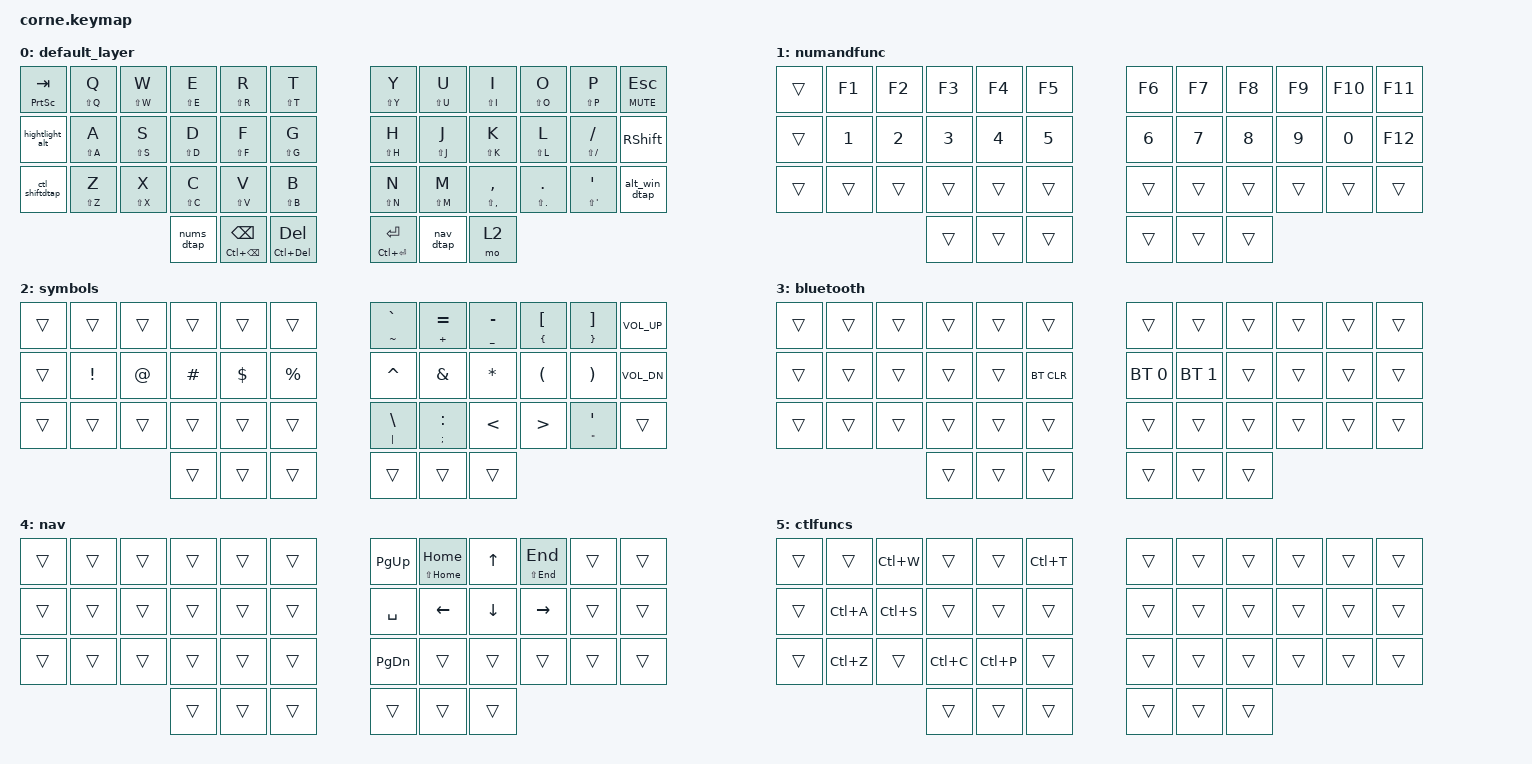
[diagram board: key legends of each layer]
/*
 * Copyright (c) 2020 The ZMK Contributors
 *
 * SPDX-License-Identifier: MIT
 */

#include <behaviors.dtsi>
#include <dt-bindings/zmk/bt.h>
#include <dt-bindings/zmk/keys.h>

&mt {
    tapping-term-ms = <240>;
    quick-tap-ms = <0>;
    flavor = "tap-preferred";
};

&lt {
    tapping-term-ms = <200>;
    flavor = "balanced";
};

/ {
    combos { compatible = "zmk,combos"; };

    behaviors {
        nums_dtap: nums_dtap {
            compatible = "zmk,behavior-tap-dance";
            label = "NUMS_DTAP";
            #binding-cells = <0>;
            bindings = <&mo 1>, <&to 1>;
        };

        nav_dtap: nav_dtap {
            compatible = "zmk,behavior-tap-dance";
            label = "NAV_DTAP";
            #binding-cells = <0>;
            bindings = <&lt 4 SPACE>;
        };

        alt_win_dtap: alt_win_dtap {
            compatible = "zmk,behavior-tap-dance";
            label = "ALT_WIN_DTAP";
            #binding-cells = <0>;
            bindings = <&mt RIGHT_ALT RIGHT_ALT>, <&kp RIGHT_WIN>;
        };

        ctl_shiftdtap: ctl_shiftdtap {
            compatible = "zmk,behavior-tap-dance";
            label = "CTL_SHIFTDTAP";
            #binding-cells = <0>;
            bindings = <&mt LEFT_CONTROL LEFT_CONTROL>, <&kp LS(LEFT_CONTROL)>;
        };

        hightlight_alt: hightlight_alt {
            compatible = "zmk,behavior-tap-dance";
            label = "HIGHTLIGHT_ALT";
            #binding-cells = <0>;
            bindings =
                <&mt RIGHT_ALT RIGHT_ALT>,
                <&mt RIGHT_ALT LC(RA(NUMBER_2))>;
        };
    };

    keymap {
        compatible = "zmk,keymap";

        default_layer {
            // -----------------------------------------------------------------------------------------
            // |  TAB |  Q  |  W  |  E  |  R  |  T  |   |  Y  |  U   |  I  |  O  |  P  | BKSP |
            // | CTRL |  A  |  S  |  D  |  F  |  G  |   |  H  |  J   |  K  |  L  |  ;  |  '   |
            // | SHFT |  Z  |  X  |  C  |  V  |  B  |   |  N  |  M   |  ,  |  .  |  /  | ESC  |
            //                    | GUI | LWR | SPC |   | ENT | RSE  | ALT |

            bindings = <
&mt PRINTSCREEN TAB  &mt LS(Q) Q  &mt LS(W) W  &mt LS(E) E  &mt LS(R) R                  &mt LS(T) T        &mt LS(Y) Y          &mt LS(U) U  &mt LS(I) I          &mt LS(O) O            &mt LS(P) P          &mt C_MUTE ESCAPE
&hightlight_alt      &mt LS(A) A  &mt LS(S) S  &mt LS(D) D  &mt LS(F) F                  &mt LS(G) G        &mt LS(H) H          &mt LS(J) J  &mt LS(K) K          &mt LS(L) L            &mt LS(SLASH) SLASH  &kp RIGHT_SHIFT
&ctl_shiftdtap       &mt LS(Z) Z  &mt LS(X) X  &mt LS(C) C  &mt LS(V) V                  &mt LS(B) B        &mt LS(N) N          &mt LS(M) M  &mt LS(COMMA) COMMA  &mt LS(PERIOD) PERIOD  &mt LS(SQT) SQT      &alt_win_dtap
                                               &nums_dtap   &mt LC(BACKSPACE) BACKSPACE  &mt LC(DEL) DEL    &mt LC(ENTER) ENTER  &nav_dtap    &mo 2
            >;
        };

        numandfunc {
            // -----------------------------------------------------------------------------------------
            // |  TAB |  1  |  2  |  3  |  4  |  5  |   |  6  |  7  |  8  |  9  |  0  | BKSP |
            // | BTCLR| BT1 | BT2 | BT3 | BT4 | BT5 |   | LFT | DWN |  UP | RGT |     |      |
            // | SHFT |     |     |     |     |     |   |     |     |     |     |     |      |
            //                    | GUI |     | SPC |   | ENT |     | ALT |

            bindings = <
&trans  &kp F1        &kp F2        &kp F3        &kp F4        &kp F5    &kp F6        &kp F7  &kp F8  &kp F9  &kp F10  &kp F11
&trans  &kp NUMBER_1  &kp NUMBER_2  &kp NUMBER_3  &kp NUMBER_4  &kp N5    &kp NUMBER_6  &kp N7  &kp N8  &kp N9  &kp N0   &kp F12
&trans  &trans        &trans        &trans        &trans        &trans    &trans        &trans  &trans  &trans  &trans   &trans
                                    &trans        &trans        &trans    &trans        &trans  &trans
            >;
        };

        symbols {
            // -----------------------------------------------------------------------------------------
            // |  TAB |  !  |  @  |  #  |  $  |  %  |   |  ^  |  &  |  *  |  (  |  )  | BKSP |
            // | CTRL |     |     |     |     |     |   |  -  |  =  |  [  |  ]  |  \  |  `   |
            // | SHFT |     |     |     |     |     |   |  _  |  +  |  {  |  }  | "|" |  ~   |
            //                    | GUI |     | SPC |   | ENT |     | ALT |

            bindings = <
&trans  &trans           &trans       &trans    &trans      &trans         &mt TILDE GRAVE     &mt PLUS EQUAL  &mt UNDER MINUS  &mt LEFT_BRACE LEFT_BRACKET  &mt RIGHT_BRACE RIGHT_BRACKET   &kp C_VOLUME_UP
&trans  &kp EXCLAMATION  &kp AT_SIGN  &kp HASH  &kp DOLLAR  &kp PERCENT    &kp CARET           &kp AMPERSAND   &kp ASTERISK     &kp LEFT_PARENTHESIS         &kp RIGHT_PARENTHESIS           &kp C_VOL_DN
&trans  &trans           &trans       &trans    &trans      &trans         &mt PIPE BACKSLASH  &mt SEMI COLON  &kp LESS_THAN    &kp GREATER_THAN             &mt DOUBLE_QUOTES SINGLE_QUOTE  &trans
                                      &trans    &trans      &trans         &trans              &trans          &trans
            >;
        };

        bluetooth {
            bindings = <
&trans  &trans  &trans  &trans  &trans  &trans        &trans        &trans        &trans  &trans  &trans  &trans
&trans  &trans  &trans  &trans  &trans  &bt BT_CLR    &bt BT_SEL 0  &bt BT_SEL 1  &trans  &trans  &trans  &trans
&trans  &trans  &trans  &trans  &trans  &trans        &trans        &trans        &trans  &trans  &trans  &trans
                        &trans  &trans  &trans        &trans        &trans        &trans
            >;
        };

        nav {
            bindings = <
&trans  &trans  &trans  &trans  &trans  &trans    &kp PG_UP      &mt LS(HOME) HOME  &kp UP    &mt LS(END) END  &trans  &trans
&trans  &trans  &trans  &trans  &trans  &trans    &kp SPACE      &kp LEFT           &kp DOWN  &kp RIGHT        &trans  &trans
&trans  &trans  &trans  &trans  &trans  &trans    &kp PAGE_DOWN  &trans             &trans    &trans           &trans  &trans
                        &trans  &trans  &trans    &trans         &trans             &trans
            >;
        };

        ctlfuncs {
            bindings = <
&trans  &trans     &kp LC(W)  &trans     &trans     &kp LC(T)    &trans  &trans  &trans  &trans  &trans  &trans
&trans  &kp LC(A)  &kp LC(S)  &trans     &trans     &trans       &trans  &trans  &trans  &trans  &trans  &trans
&trans  &kp LC(Z)  &trans     &kp LC(C)  &kp LC(P)  &trans       &trans  &trans  &trans  &trans  &trans  &trans
                              &trans     &trans     &trans       &trans  &trans  &trans
            >;
        };
    };

    conditional_layers {
        compatible = "zmk,conditional-layers";

        Bluetooth {
            if-layers = <1 2>;
            then-layer = <3>;
        };
    };
};
